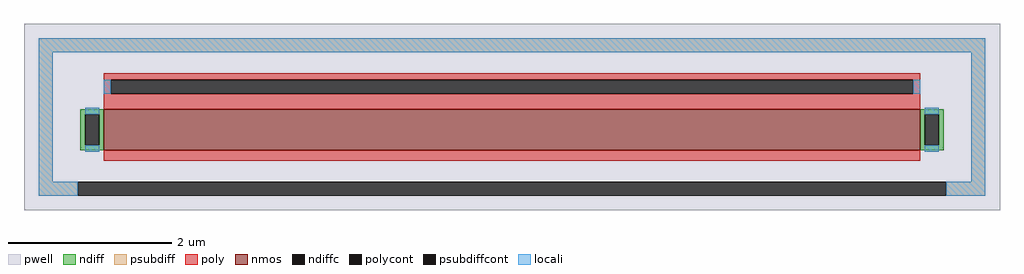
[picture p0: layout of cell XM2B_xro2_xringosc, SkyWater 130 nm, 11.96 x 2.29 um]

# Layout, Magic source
magic
tech sky130A
magscale 1 2
<< pwell >>
rect -1196 -229 1196 229
<< nmos >>
rect -1000 -81 1000 19
<< ndiff >>
rect -1058 7 -1000 19
rect -1058 -69 -1046 7
rect -1012 -69 -1000 7
rect -1058 -81 -1000 -69
rect 1000 7 1058 19
rect 1000 -69 1012 7
rect 1046 -69 1058 7
rect 1000 -81 1058 -69
<< ndiffc >>
rect -1046 -69 -1012 7
rect 1012 -69 1046 7
<< psubdiff >>
rect -1160 159 1160 193
rect -1160 -159 -1126 159
rect 1126 -159 1160 159
rect -1160 -193 -1064 -159
rect 1064 -193 1160 -159
<< psubdiffcont >>
rect -1064 -193 1064 -159
<< poly >>
rect -1000 91 1000 107
rect -1000 57 -984 91
rect 984 57 1000 91
rect -1000 19 1000 57
rect -1000 -107 1000 -81
<< polycont >>
rect -984 57 984 91
<< locali >>
rect -1160 159 1160 193
rect -1160 -159 -1126 159
rect -1000 57 -984 91
rect 984 57 1000 91
rect -1046 7 -1012 23
rect -1046 -85 -1012 -69
rect 1012 7 1046 23
rect 1012 -85 1046 -69
rect 1126 -159 1160 159
rect -1160 -193 -1064 -159
rect 1064 -193 1160 -159
<< properties >>
string FIXED_BBOX -1143 -176 1143 176
<< end >>
